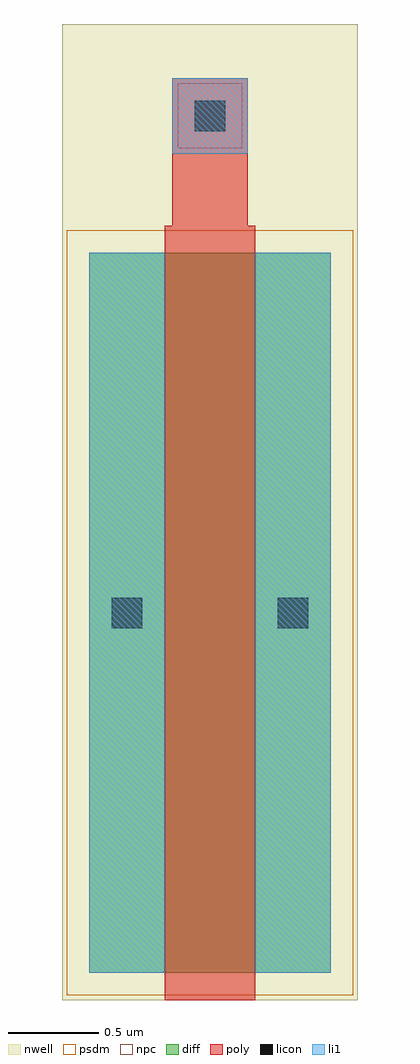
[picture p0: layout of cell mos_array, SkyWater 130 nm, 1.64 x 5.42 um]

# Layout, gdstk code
import gdstk
lib = gdstk.Library(unit=1e-6, precision=1e-09)
def R(c, l, rs):  # rectangles x0, y0, x1, y1
    for r in rs: c.add(gdstk.rectangle(r[:2], r[2:], *l))
nwell = (64, 20)
diff = (65, 20)
poly = (66, 20)
licon = (66, 44)
li1 = (67, 20)
psdm = (94, 20)
npc = (95, 20)

mos_array = lib.new_cell('mos_array')
R(mos_array, nwell, [(-0.15,-0.15,1.49,5.27)])
R(mos_array, diff, [(0,0,1.34,4)])
R(mos_array, poly, [(0.42,-0.15,0.92,4), (0.42,4,0.92,4.15), (0.42,4,0.92,4.15), (0.46,4.15,0.88,4.97)])
R(mos_array, licon, [(0.125,1.915,0.295,2.085), (1.045,1.915,1.215,2.085), (0.585,4.675,0.755,4.845)])
R(mos_array, li1, [(0,0,0.42,4), (0.92,0,1.34,4), (0.46,4.55,0.88,4.97)])
R(mos_array, psdm, [(-0.125,-0.125,1.465,4.125)])
R(mos_array, npc, [(0.49,4.58,0.85,4.94)])

lib.write_gds('mos_array.gds')
